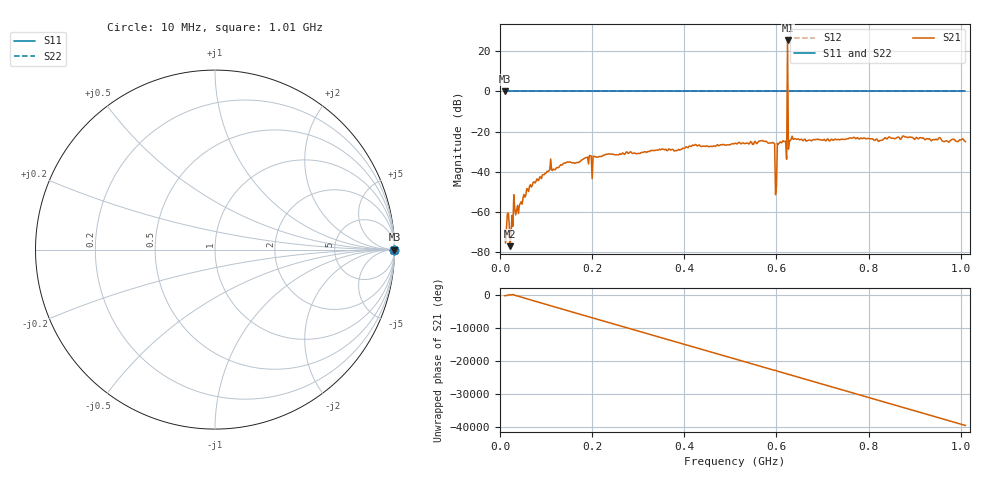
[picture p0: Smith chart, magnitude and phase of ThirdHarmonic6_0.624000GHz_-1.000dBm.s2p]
! 8/15/2025 8:33:05 PM
! C:\ANRITSUVNA\TEMP\TEMP.S2P
! CHANNEL.1
! TR.MEASUREMENT
! RAW.DATA
! RF.CORRECTION.OFF
! AVERAGING.OFF
! IF.BANDWIDTH: 5KHZ
! SWEEPTYPE:  FREQ.SWEEP(Linear)
! Reference Plane Port Info
! PORT:  PORT1  PORT2
! DISTANCE:  0  m  0  m
! TIME:  0  s  0  s
! PHASE.OFFSET:  0  deg.  0  deg.
! LOSS:  0  dB  0  dB
! REF.LOSS:  0  dB  0  dB
! REF.FREQ:  0  Hz  0  Hz
! Power Info
! POWER:  -20  dBm  -20  dBm
! EFF.POWER:  -20  dBm  -20  dBm
! SOURCE.ATTEN:  0  dB  0  dB
! TEST.ATTEN:  0  dB  0  dB
# GHZ S RI R 50.0
! FREQ.GHZ  S11RE  S11IM  S21RE  S21IM  S12RE  S12IM  S22RE  S22IM
!; PortSelection: Port_12
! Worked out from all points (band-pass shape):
!   501 points, 10 MHz to 1.01 GHz, reference 50 ohm
!   highest |S21| = 25.37 dB at 624 MHz (marker M1); lowest = -77.0 dB at 22 MHz (marker M2)
!   |S21| within 3 dB of the highest: 623.8985 MHz to 624.111 MHz (212.5 kHz wide, 0.0341 % of centre)
!   lowest |S11| = 0.0 dB at 10 MHz (marker M3)
!   |S11| at or under -10 dB: nowhere
!   |S22| runs from 0.0 to 0.0 dB; largest |S21 - S12| = 19
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0.01  1 0  -0.000319 -0.000176  1 0  1 0
0.022  1 0  5.41e-05 0.000131  1 0  1 0
0.024  1 0  8.78e-05 0.000258  1 0  1 0
0.034  1 0  0.000136 -0.000839  1 0  1 0
0.038  1 0  -0.00122 0.000793  1 0  1 0
0.106  1 0  -0.00809 -0.00685  1 0  1 0
0.178  1 0  -0.02 -0.0018  1 0  1 0
0.344  1 0  0.0284 -0.0203  1 0  1 0
0.51  1 0  -0.0261 0.0446  1 0  1 0
0.592  1 0  0.0337 0.0423  1 0  1 0
0.596  1 0  -0.018 -0.0471  1 0  1 0
0.6  1 0  -0.00242 0.00363  1 0  1 0
0.602  1 0  0.05 0.0113  1 0  1 0
0.606  1 0  -0.0422 -0.0309  1 0  1 0
0.618  1 0  -0.00273 0.0569  1 0  1 0
0.62  1 0  0.0567 0.0133  1 0  1 0
0.624  1 0  -10.14 15.54  1 0  1 0
0.628  1 0  0.0447 0.0398  1 0  1 0
0.63  1 0  0.0486 -0.0336  1 0  1 0
0.678  1 0  -0.0613 -0.00265  1 0  1 0
0.844  1 0  0.0592 -0.0441  1 0  1 0
1.01  1 0  -0.00184 0.0566  1 0  1 0
